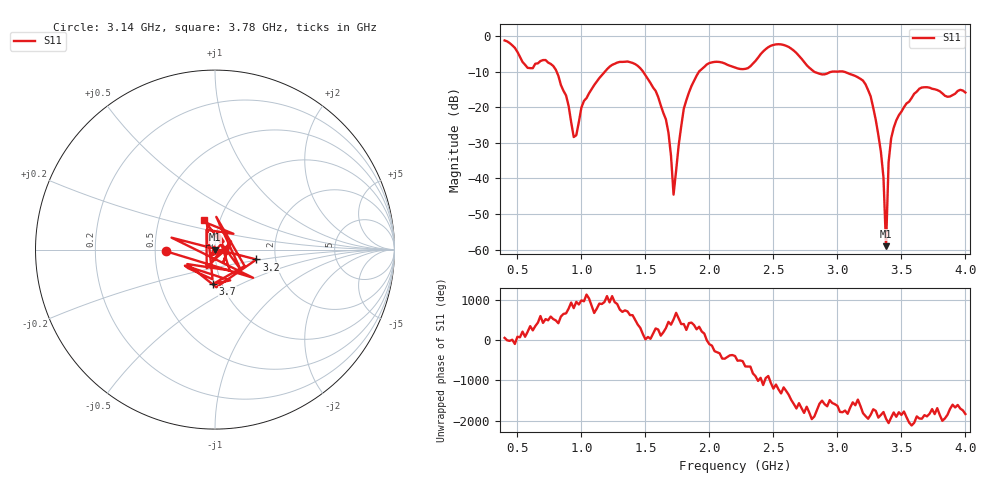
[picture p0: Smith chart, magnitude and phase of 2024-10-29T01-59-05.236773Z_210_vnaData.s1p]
!Created with skrf (http://scikit-rf.org).
# Hz S RI R 50.0
!freq ReS11 ImS11
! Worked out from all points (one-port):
!   181 points, 400 MHz to 4 GHz, reference 50 ohm
!   lowest |S11| = -59.0 dB at 3.38 GHz (marker M1), VSWR 1.00, Z = 49.9 - j0.0524 ohm
!   |S11| at or under -10 dB: 806.6 MHz to 1.184 GHz (377.3 MHz wide, 37.9 % of centre); 1.482 GHz to 1.918 GHz (436 MHz wide, 25.6 % of centre); 3.051 GHz to end of sweep (the widest 3 of 4)
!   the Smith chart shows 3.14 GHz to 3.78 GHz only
!   S11 on the Smith chart (normalised r, x): 3.14 GHz: 0.57, -0.01; 3.2 GHz: 1.59, -0.18; 3.7 GHz: 0.91, -0.36; 3.78 GHz: 0.84, +0.29
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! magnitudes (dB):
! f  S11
! 400 MHz  -1.2
! 580 MHz  -8.9
! 780 MHz  -8.4
! 860 MHz  -15.4
! 940 MHz  -28.4
! 1.02 GHz  -18.2
! 1.3 GHz  -7.2
! 1.6 GHz  -17.1
! 1.68 GHz  -27.1
! 1.72 GHz  -44.6
! 1.76 GHz  -30.6
! 1.8 GHz  -20.4
! 1.92 GHz  -9.9
! 2.2 GHz  -8.8
! 2.66 GHz  -4.1
! 3.1 GHz  -10.7
! 3.14 GHz  -11.2
! 3.2 GHz  -12.5
! 3.26 GHz  -16.9
! 3.34 GHz  -32.6
! 3.36 GHz  -39.7
! 3.38 GHz  -59.0
! 3.4 GHz  -35.4
! 3.42 GHz  -28.7
! 3.56 GHz  -18.4
! 3.7 GHz  -14.3
! 3.78 GHz  -15.1
! 4 GHz  -15.8
